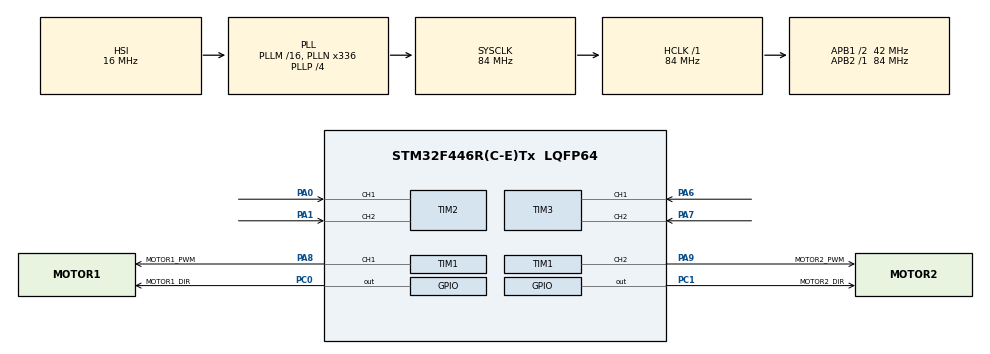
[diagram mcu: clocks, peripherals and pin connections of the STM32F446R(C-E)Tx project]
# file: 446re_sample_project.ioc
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Mcu.Family=STM32F4
Mcu.Name=STM32F446R(C-E)Tx
Mcu.Package=LQFP64
NVIC.PriorityGroup=NVIC_PRIORITYGROUP_4
PA0-WKUP.Signal=S_TIM2_CH1_ETR
PA1.Signal=S_TIM2_CH2
PA13.GPIO_Label=TMS
PA13.Signal=SYS_JTMS-SWDIO
PA14.GPIO_Label=TCK
PA14.Signal=SYS_JTCK-SWCLK
PA6.Signal=S_TIM3_CH1
PA7.Signal=S_TIM3_CH2
PA8.GPIO_Label=MOTOR1_PWM
PA8.Signal=S_TIM1_CH1
PA9.GPIO_Label=MOTOR2_PWM
PA9.Signal=S_TIM1_CH2
PC0.GPIO_Label=MOTOR1_DIR
PC0.Signal=GPIO_Output
PC1.GPIO_Label=MOTOR2_DIR
PC1.Signal=GPIO_Output
ProjectManager.HeapSize=0x200
ProjectManager.StackSize=0x400
ProjectManager.TargetToolchain=STM32CubeIDE
RCC.AHBFreq_Value=84000000
RCC.APB1CLKDivider=RCC_HCLK_DIV2
RCC.APB1Freq_Value=42000000
RCC.APB1TimFreq_Value=84000000
RCC.APB2Freq_Value=84000000
RCC.APB2TimFreq_Value=84000000
RCC.CortexFreq_Value=84000000
RCC.FLatency-AdvancedSettings=FLASH_LATENCY_2
RCC.HCLKFreq_Value=84000000
RCC.HSE_VALUE=8000000
RCC.HSI_VALUE=16000000
RCC.LSE_VALUE=32768
RCC.PLLN=336
RCC.PLLP=RCC_PLLP_DIV4
RCC.SYSCLKFreq_VALUE=84000000
RCC.SYSCLKSource=RCC_SYSCLKSOURCE_PLLCLK
RCC.USBFreq_Value=168000000
RCC.VCOOutputFreq_Value=336000000
SH.S_TIM1_CH1.0=TIM1_CH1,PWM Generation1 CH1
SH.S_TIM1_CH2.0=TIM1_CH2,PWM Generation2 CH2
SH.S_TIM2_CH1_ETR.0=TIM2_CH1,Encoder_Interface
SH.S_TIM2_CH2.0=TIM2_CH2,Encoder_Interface
SH.S_TIM3_CH1.0=TIM3_CH1,Encoder_Interface
SH.S_TIM3_CH2.0=TIM3_CH2,Encoder_Interface
TIM1.AutoReloadPreload=TIM_AUTORELOAD_PRELOAD_ENABLE
TIM1.Channel-PWM\ Generation1\ CH1=TIM_CHANNEL_1
TIM1.Channel-PWM\ Generation2\ CH2=TIM_CHANNEL_2
TIM1.Period=4199
TIM2.EncoderMode=TIM_ENCODERMODE_TI12
TIM2.IC1Filter=4
TIM2.IC2Filter=4
TIM3.EncoderMode=TIM_ENCODERMODE_TI12
TIM3.IC1Filter=4
board=custom

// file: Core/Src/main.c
/* USER CODE BEGIN Header */
/**
  ******************************************************************************
  * @file           : main.c
  * @brief          : Main program body
  ******************************************************************************
  * @attention
  *
  * Copyright (c) 2026 STMicroelectronics.
  * All rights reserved.
  *
  * This software is licensed under terms that can be found in the LICENSE file
  * in the root directory of this software component.
  * If no LICENSE file comes with this software, it is provided AS-IS.
  *
  ******************************************************************************
  */
/* USER CODE END Header */
#include "main.h"

/* USER CODE BEGIN Includes */
#include "motor_sequence.h"
/* USER CODE END Includes */

TIM_HandleTypeDef htim1;
TIM_HandleTypeDef htim2;
TIM_HandleTypeDef htim3;

/* USER CODE BEGIN PV */
/* 엔코더 표시 변수: 기존 자료형과 signed 카운터 해석을 유지합니다. */

volatile int32_t motor1_count;
volatile int64_t motor2_count;
/* USER CODE END PV */

void SystemClock_Config(void);
static void MX_GPIO_Init(void);
static void MX_TIM1_Init(void);
static void MX_TIM2_Init(void);
static void MX_TIM3_Init(void);

int main(void)
{

  /* USER CODE BEGIN 1 */
  uint32_t encoder_poll_tick = 0U;

  /* USER CODE END 1 */

  /* MCU Configuration--------------------------------------------------------*/

  /* Reset of all peripherals, Initializes the Flash interface and the Systick. */
  HAL_Init();

  /* Configure the system clock */
  SystemClock_Config();

  /* Initialize all configured peripherals */
  MX_GPIO_Init();
  MX_TIM1_Init();
  MX_TIM2_Init();
  MX_TIM3_Init();
  /* USER CODE BEGIN 2 */
  /* 초기화: 두 엔코더를 먼저 시작하고 표시 기준점을 0으로 맞춥니다. */
  if (HAL_TIM_Encoder_Start(&htim2, TIM_CHANNEL_ALL) != HAL_OK)
  {
    Error_Handler();
  }
  if (HAL_TIM_Encoder_Start(&htim3, TIM_CHANNEL_ALL) != HAL_OK)
  {
    Error_Handler();
  }
  __HAL_TIM_SET_COUNTER(&htim2, 0);
  __HAL_TIM_SET_COUNTER(&htim3, 0);

  /* PWM0을 반영하고 채널 시작을 검사한 뒤 3초 대기 단계를 예약합니다. */
  if (MotorSequence_Init(&htim1) != HAL_OK)
  {
    Error_Handler();
  }
  encoder_poll_tick = HAL_GetTick();
  /* USER CODE END 2 */

  /* Infinite loop */
  while (1)
  {

    /* USER CODE BEGIN 3 */
    /* 실행: 모터 단계는 매 루프 확인하고 엔코더 표시는 10ms마다 갱신합니다. */
    const uint32_t now = HAL_GetTick();
    MotorSequence_Task(now);
    if ((uint32_t)(now - encoder_poll_tick) >= 10U)
    {
      motor1_count = (int32_t)__HAL_TIM_GET_COUNTER(&htim2);
      motor2_count = (int16_t)__HAL_TIM_GET_COUNTER(&htim3);
      encoder_poll_tick = now;
    }
  }
  /* USER CODE END 3 */
}

void SystemClock_Config(void)
{
  RCC_OscInitTypeDef RCC_OscInitStruct = {0};
  RCC_ClkInitTypeDef RCC_ClkInitStruct = {0};

  /** Configure the main internal regulator output voltage
  */
  __HAL_RCC_PWR_CLK_ENABLE();
  __HAL_PWR_VOLTAGESCALING_CONFIG(PWR_REGULATOR_VOLTAGE_SCALE3);

  /** Initializes the RCC Oscillators according to the specified parameters
  * in the RCC_OscInitTypeDef structure.
  */
  RCC_OscInitStruct.OscillatorType = RCC_OSCILLATORTYPE_HSI;
  RCC_OscInitStruct.HSIState = RCC_HSI_ON;
  RCC_OscInitStruct.HSICalibrationValue = RCC_HSICALIBRATION_DEFAULT;
  RCC_OscInitStruct.PLL.PLLState = RCC_PLL_ON;
  RCC_OscInitStruct.PLL.PLLSource = RCC_PLLSOURCE_HSI;
  RCC_OscInitStruct.PLL.PLLM = 16;
  RCC_OscInitStruct.PLL.PLLN = 336;
  RCC_OscInitStruct.PLL.PLLP = RCC_PLLP_DIV4;
  RCC_OscInitStruct.PLL.PLLQ = 2;
  RCC_OscInitStruct.PLL.PLLR = 2;
  if (HAL_RCC_OscConfig(&RCC_OscInitStruct) != HAL_OK)
  {
    Error_Handler();
  }

  /** Initializes the CPU, AHB and APB buses clocks
  */
  RCC_ClkInitStruct.ClockType = RCC_CLOCKTYPE_HCLK|RCC_CLOCKTYPE_SYSCLK
                              |RCC_CLOCKTYPE_PCLK1|RCC_CLOCKTYPE_PCLK2;
  RCC_ClkInitStruct.SYSCLKSource = RCC_SYSCLKSOURCE_PLLCLK;
  RCC_ClkInitStruct.AHBCLKDivider = RCC_SYSCLK_DIV1;
  RCC_ClkInitStruct.APB1CLKDivider = RCC_HCLK_DIV2;
  RCC_ClkInitStruct.APB2CLKDivider = RCC_HCLK_DIV1;

  if (HAL_RCC_ClockConfig(&RCC_ClkInitStruct, FLASH_LATENCY_2) != HAL_OK)
  {
    Error_Handler();
  }
}

static void MX_TIM1_Init(void)
{

  TIM_MasterConfigTypeDef sMasterConfig = {0};
  TIM_OC_InitTypeDef sConfigOC = {0};
  TIM_BreakDeadTimeConfigTypeDef sBreakDeadTimeConfig = {0};

  htim1.Instance = TIM1;
  htim1.Init.Prescaler = 0;
  htim1.Init.CounterMode = TIM_COUNTERMODE_UP;
  htim1.Init.Period = 4199;
  htim1.Init.ClockDivision = TIM_CLOCKDIVISION_DIV1;
  htim1.Init.RepetitionCounter = 0;
  htim1.Init.AutoReloadPreload = TIM_AUTORELOAD_PRELOAD_ENABLE;
  if (HAL_TIM_PWM_Init(&htim1) != HAL_OK)
  {
    Error_Handler();
  }
  sMasterConfig.MasterOutputTrigger = TIM_TRGO_RESET;
  sMasterConfig.MasterSlaveMode = TIM_MASTERSLAVEMODE_DISABLE;
  if (HAL_TIMEx_MasterConfigSynchronization(&htim1, &sMasterConfig) != HAL_OK)
  {
    Error_Handler();
  }
  sConfigOC.OCMode = TIM_OCMODE_PWM1;
  sConfigOC.Pulse = 0;
  sConfigOC.OCPolarity = TIM_OCPOLARITY_HIGH;
  sConfigOC.OCNPolarity = TIM_OCNPOLARITY_HIGH;
  sConfigOC.OCFastMode = TIM_OCFAST_DISABLE;
  sConfigOC.OCIdleState = TIM_OCIDLESTATE_RESET;
  sConfigOC.OCNIdleState = TIM_OCNIDLESTATE_RESET;
  if (HAL_TIM_PWM_ConfigChannel(&htim1, &sConfigOC, TIM_CHANNEL_1) != HAL_OK)
  {
    Error_Handler();
  }
  if (HAL_TIM_PWM_ConfigChannel(&htim1, &sConfigOC, TIM_CHANNEL_2) != HAL_OK)
  {
    Error_Handler();
  }
  sBreakDeadTimeConfig.OffStateRunMode = TIM_OSSR_DISABLE;
  sBreakDeadTimeConfig.OffStateIDLEMode = TIM_OSSI_DISABLE;
  sBreakDeadTimeConfig.LockLevel = TIM_LOCKLEVEL_OFF;
  sBreakDeadTimeConfig.DeadTime = 0;
  sBreakDeadTimeConfig.BreakState = TIM_BREAK_DISABLE;
  sBreakDeadTimeConfig.BreakPolarity = TIM_BREAKPOLARITY_HIGH;
  sBreakDeadTimeConfig.AutomaticOutput = TIM_AUTOMATICOUTPUT_DISABLE;
  if (HAL_TIMEx_ConfigBreakDeadTime(&htim1, &sBreakDeadTimeConfig) != HAL_OK)
  {
    Error_Handler();
  }
  HAL_TIM_MspPostInit(&htim1);

}

static void MX_TIM2_Init(void)
{

  TIM_Encoder_InitTypeDef sConfig = {0};
  TIM_MasterConfigTypeDef sMasterConfig = {0};

  htim2.Instance = TIM2;
  htim2.Init.Prescaler = 0;
  htim2.Init.CounterMode = TIM_COUNTERMODE_UP;
  htim2.Init.Period = 4294967295;
  htim2.Init.ClockDivision = TIM_CLOCKDIVISION_DIV1;
  htim2.Init.AutoReloadPreload = TIM_AUTORELOAD_PRELOAD_DISABLE;
  sConfig.EncoderMode = TIM_ENCODERMODE_TI12;
  sConfig.IC1Polarity = TIM_ICPOLARITY_RISING;
  sConfig.IC1Selection = TIM_ICSELECTION_DIRECTTI;
  sConfig.IC1Prescaler = TIM_ICPSC_DIV1;
  sConfig.IC1Filter = 4;
  sConfig.IC2Polarity = TIM_ICPOLARITY_RISING;
  sConfig.IC2Selection = TIM_ICSELECTION_DIRECTTI;
  sConfig.IC2Prescaler = TIM_ICPSC_DIV1;
  sConfig.IC2Filter = 4;
  if (HAL_TIM_Encoder_Init(&htim2, &sConfig) != HAL_OK)
  {
    Error_Handler();
  }
  sMasterConfig.MasterOutputTrigger = TIM_TRGO_RESET;
  sMasterConfig.MasterSlaveMode = TIM_MASTERSLAVEMODE_DISABLE;
  if (HAL_TIMEx_MasterConfigSynchronization(&htim2, &sMasterConfig) != HAL_OK)
  {
    Error_Handler();
  }

}

static void MX_TIM3_Init(void)
{

  TIM_Encoder_InitTypeDef sConfig = {0};
  TIM_MasterConfigTypeDef sMasterConfig = {0};

  htim3.Instance = TIM3;
  htim3.Init.Prescaler = 0;
  htim3.Init.CounterMode = TIM_COUNTERMODE_UP;
  htim3.Init.Period = 65535;
  htim3.Init.ClockDivision = TIM_CLOCKDIVISION_DIV1;
  htim3.Init.AutoReloadPreload = TIM_AUTORELOAD_PRELOAD_DISABLE;
  sConfig.EncoderMode = TIM_ENCODERMODE_TI12;
  sConfig.IC1Polarity = TIM_ICPOLARITY_RISING;
  sConfig.IC1Selection = TIM_ICSELECTION_DIRECTTI;
  sConfig.IC1Prescaler = TIM_ICPSC_DIV1;
  sConfig.IC1Filter = 4;
  sConfig.IC2Polarity = TIM_ICPOLARITY_RISING;
  sConfig.IC2Selection = TIM_ICSELECTION_DIRECTTI;
  sConfig.IC2Prescaler = TIM_ICPSC_DIV1;
  sConfig.IC2Filter = 0;
  if (HAL_TIM_Encoder_Init(&htim3, &sConfig) != HAL_OK)
  {
    Error_Handler();
  }
  sMasterConfig.MasterOutputTrigger = TIM_TRGO_RESET;
  sMasterConfig.MasterSlaveMode = TIM_MASTERSLAVEMODE_DISABLE;
  if (HAL_TIMEx_MasterConfigSynchronization(&htim3, &sMasterConfig) != HAL_OK)
  {
    Error_Handler();
  }

}

static void MX_GPIO_Init(void)
{
  GPIO_InitTypeDef GPIO_InitStruct = {0};

  /* GPIO Ports Clock Enable */
  __HAL_RCC_GPIOC_CLK_ENABLE();
  __HAL_RCC_GPIOA_CLK_ENABLE();

  /*Configure GPIO pin Output Level */
  HAL_GPIO_WritePin(GPIOC, MOTOR1_DIR_Pin|MOTOR2_DIR_Pin, GPIO_PIN_RESET);

  /*Configure GPIO pins : MOTOR1_DIR_Pin MOTOR2_DIR_Pin */
  GPIO_InitStruct.Pin = MOTOR1_DIR_Pin|MOTOR2_DIR_Pin;
  GPIO_InitStruct.Mode = GPIO_MODE_OUTPUT_PP;
  GPIO_InitStruct.Pull = GPIO_NOPULL;
  GPIO_InitStruct.Speed = GPIO_SPEED_FREQ_LOW;
  HAL_GPIO_Init(GPIOC, &GPIO_InitStruct);

  /* USER CODE BEGIN MX_GPIO_Init_2 */
  /* Hold PWM LOW until the TIM1 AF1 setup is ready. */
  HAL_GPIO_WritePin(GPIOA, GPIO_PIN_8 | GPIO_PIN_9, GPIO_PIN_RESET);
  GPIO_InitStruct.Pin = GPIO_PIN_8 | GPIO_PIN_9;
  HAL_GPIO_Init(GPIOA, &GPIO_InitStruct);
  /* USER CODE END MX_GPIO_Init_2 */
}

void Error_Handler(void)
{
  /* USER CODE BEGIN Error_Handler_Debug */
  GPIO_InitTypeDef gpio = {0};
  __HAL_RCC_TIM1_CLK_ENABLE();
  __HAL_RCC_GPIOA_CLK_ENABLE();
  __HAL_RCC_GPIOC_CLK_ENABLE();
  CLEAR_BIT(TIM1->BDTR, TIM_BDTR_MOE | TIM_BDTR_AOE);
  CLEAR_BIT(TIM1->CCER, TIM_CCER_CC1E | TIM_CCER_CC2E);
  CLEAR_BIT(TIM1->CR1, TIM_CR1_CEN);
  HAL_GPIO_WritePin(GPIOA, GPIO_PIN_8 | GPIO_PIN_9, GPIO_PIN_RESET);
  gpio.Pin = GPIO_PIN_8 | GPIO_PIN_9;
  gpio.Mode = GPIO_MODE_OUTPUT_PP;
  gpio.Pull = GPIO_NOPULL;
  gpio.Speed = GPIO_SPEED_FREQ_LOW;
  HAL_GPIO_Init(GPIOA, &gpio);
  HAL_GPIO_WritePin(GPIOC, MOTOR1_DIR_Pin | MOTOR2_DIR_Pin, GPIO_PIN_RESET);
  gpio.Pin = MOTOR1_DIR_Pin | MOTOR2_DIR_Pin;
  HAL_GPIO_Init(GPIOC, &gpio);
  __disable_irq();
  while (1) { }
  /* USER CODE END Error_Handler_Debug */
}
#ifdef USE_FULL_ASSERT
/**
  * @brief  Reports the name of the source file and the source line number
  *         where the assert_param error has occurred.
  * @param  file: pointer to the source file name
  * @param  line: assert_param error line source number
  * @retval None
  */
void assert_failed(uint8_t *file, uint32_t line)
{
  /* USER CODE BEGIN 6 */
  (void)file;
  (void)line;
  Error_Handler();
  /* USER CODE END 6 */
}
#endif /* USE_FULL_ASSERT */
